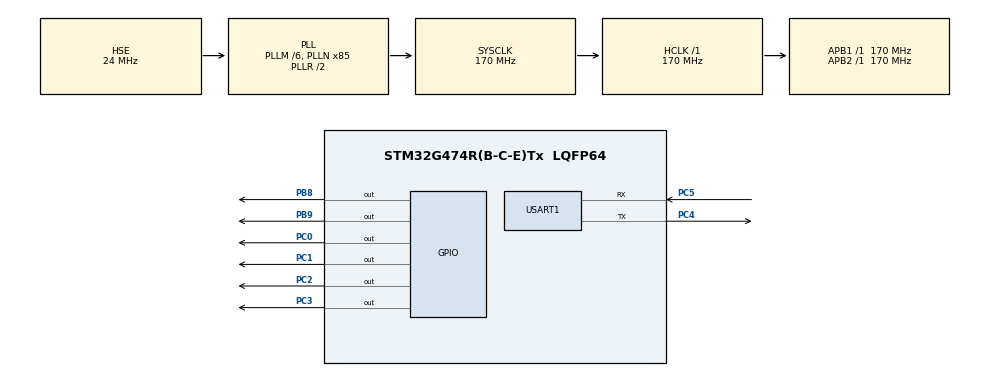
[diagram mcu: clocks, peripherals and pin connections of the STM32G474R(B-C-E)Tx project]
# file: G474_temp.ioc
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Mcu.Family=STM32G4
Mcu.Name=STM32G474R(B-C-E)Tx
Mcu.Package=LQFP64
NVIC.PriorityGroup=NVIC_PRIORITYGROUP_4
NVIC.USART1_IRQn=true\:0\:0\:false\:false\:true\:true\:true\:true
PA13.Mode=Serial_Wire
PA13.Signal=SYS_JTMS-SWDIO
PA14.Mode=Serial_Wire
PA14.Signal=SYS_JTCK-SWCLK
PB8-BOOT0.GPIO_FM8=__NULL
PB8-BOOT0.GPIO_ModeDefaultOutputPP=GPIO_MODE_OUTPUT_OD
PB8-BOOT0.GPIO_PuPd=GPIO_PULLUP
PB8-BOOT0.GPIO_Speed=GPIO_SPEED_FREQ_VERY_HIGH
PB8-BOOT0.Signal=GPIO_Output
PB9.GPIO_ModeDefaultOutputPP=GPIO_MODE_OUTPUT_OD
PB9.GPIO_PuPd=GPIO_PULLUP
PB9.GPIO_Speed=GPIO_SPEED_FREQ_VERY_HIGH
PB9.Signal=GPIO_Output
PC0.GPIO_Speed=GPIO_SPEED_FREQ_HIGH
PC0.Signal=GPIO_Output
PC1.GPIO_Speed=GPIO_SPEED_FREQ_HIGH
PC1.Signal=GPIO_Output
PC14-OSC32_IN.Mode=LSE-External-Oscillator
PC14-OSC32_IN.Signal=RCC_OSC32_IN
PC15-OSC32_OUT.Mode=LSE-External-Oscillator
PC15-OSC32_OUT.Signal=RCC_OSC32_OUT
PC2.GPIO_Speed=GPIO_SPEED_FREQ_HIGH
PC2.Signal=GPIO_Output
PC3.GPIO_Speed=GPIO_SPEED_FREQ_HIGH
PC3.Signal=GPIO_Output
PC4.Mode=Asynchronous
PC4.Signal=USART1_TX
PC5.Mode=Asynchronous
PC5.Signal=USART1_RX
PF0-OSC_IN.Mode=HSE-External-Oscillator
PF0-OSC_IN.Signal=RCC_OSC_IN
PF1-OSC_OUT.Mode=HSE-External-Oscillator
PF1-OSC_OUT.Signal=RCC_OSC_OUT
ProjectManager.HeapSize=0x200
ProjectManager.StackSize=0x400
ProjectManager.TargetToolchain=MDK-ARM V5.32
RCC.ADC12Freq_Value=170000000
RCC.ADC345Freq_Value=170000000
RCC.AHBFreq_Value=170000000
RCC.APB1Freq_Value=170000000
RCC.APB1TimFreq_Value=170000000
RCC.APB2Freq_Value=170000000
RCC.APB2TimFreq_Value=170000000
RCC.CortexFreq_Value=170000000
RCC.EXTERNAL_CLOCK_VALUE=12288000
RCC.HCLKFreq_Value=170000000
RCC.HSE_VALUE=24000000
RCC.HSI48_VALUE=48000000
RCC.HSI_VALUE=16000000
RCC.PLLM=RCC_PLLM_DIV6
RCC.PLLN=85
RCC.PLLSourceVirtual=RCC_PLLSOURCE_HSE
RCC.RTCClockSelection=RCC_RTCCLKSOURCE_LSE
RCC.SYSCLKFreq_VALUE=170000000
RCC.SYSCLKSource=RCC_SYSCLKSOURCE_PLLCLK
RCC.USBFreq_Value=170000000
RCC.VCOOutputFreq_Value=340000000
USART1.VirtualMode-Asynchronous=VM_ASYNC
VP_SYS_VS_DBSignals.Mode=DisableDeadBatterySignals
board=NUCLEO-G474RE

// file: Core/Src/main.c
/* USER CODE BEGIN Header */
/**
  ******************************************************************************
  * @file           : main.c
  * @brief          : Main program body
  ******************************************************************************
  * @attention
  *
  * Copyright (c) 2023 STMicroelectronics.
  * All rights reserved.
  *
  * This software is licensed under terms that can be found in the LICENSE file
  * in the root directory of this software component.
  * If no LICENSE file comes with this software, it is provided AS-IS.
  *
  ******************************************************************************
  */
/* USER CODE END Header */
#include "main.h"
#include "usart.h"
#include "gpio.h"

/* USER CODE BEGIN Includes */
#include "delay.h"
#include "myusart1.h"
#include "OLED_I2C.h"
#include "AD9834.h"
/* USER CODE END Includes */

void SystemClock_Config(void);

int main(void)
{

  /* MCU Configuration--------------------------------------------------------*/

  /* Reset of all peripherals, Initializes the Flash interface and the Systick. */
  HAL_Init();

  /* Configure the system clock */
  SystemClock_Config();

  /* Initialize all configured peripherals */
  MX_GPIO_Init();
  MX_USART1_UART_Init();
  /* USER CODE BEGIN 2 */
  delay_init(170);
  MyUSART1_Init(&huart1);
  OLED_Init();
  OLED_CLS();
  OLED_ShowStr(40,3,(unsigned char *)"START",2);
  uint8_t Rx_data[100];

  AD9834_Init();
  AD9834_Select_Wave(Sine_Wave);
  AD9834_Set_Freq(FREQ_0,9800000);
  /* USER CODE END 2 */

  /* Infinite loop */
  /* USER CODE BEGIN WHILE */
  while (1)
  {
    if(MyUSART1_ReadLine(Rx_data))
    {
      MyUSART1_WriteLine((uint8_t *)"你发送的是");
      MyUSART1_WriteLine(Rx_data);
      if(Rx_data[0]=='0'&& Rx_data[1]=='1')
        OLED_ShowStr(40,3,(unsigned char *)"RIGHT",2);
      else
        OLED_ShowStr(40,3,(unsigned char *)"FALSE",2);
    }

    delay_ms(5);

    /* USER CODE END WHILE */

  }
}

void SystemClock_Config(void)
{
  RCC_OscInitTypeDef RCC_OscInitStruct = {0};
  RCC_ClkInitTypeDef RCC_ClkInitStruct = {0};

  /** Configure the main internal regulator output voltage
  */
  HAL_PWREx_ControlVoltageScaling(PWR_REGULATOR_VOLTAGE_SCALE1_BOOST);

  /** Initializes the RCC Oscillators according to the specified parameters
  * in the RCC_OscInitTypeDef structure.
  */
  RCC_OscInitStruct.OscillatorType = RCC_OSCILLATORTYPE_HSE;
  RCC_OscInitStruct.HSEState = RCC_HSE_ON;
  RCC_OscInitStruct.PLL.PLLState = RCC_PLL_ON;
  RCC_OscInitStruct.PLL.PLLSource = RCC_PLLSOURCE_HSE;
  RCC_OscInitStruct.PLL.PLLM = RCC_PLLM_DIV6;
  RCC_OscInitStruct.PLL.PLLN = 85;
  RCC_OscInitStruct.PLL.PLLP = RCC_PLLP_DIV2;
  RCC_OscInitStruct.PLL.PLLQ = RCC_PLLQ_DIV2;
  RCC_OscInitStruct.PLL.PLLR = RCC_PLLR_DIV2;
  if (HAL_RCC_OscConfig(&RCC_OscInitStruct) != HAL_OK)
  {
    Error_Handler();
  }

  /** Initializes the CPU, AHB and APB buses clocks
  */
  RCC_ClkInitStruct.ClockType = RCC_CLOCKTYPE_HCLK|RCC_CLOCKTYPE_SYSCLK
                              |RCC_CLOCKTYPE_PCLK1|RCC_CLOCKTYPE_PCLK2;
  RCC_ClkInitStruct.SYSCLKSource = RCC_SYSCLKSOURCE_PLLCLK;
  RCC_ClkInitStruct.AHBCLKDivider = RCC_SYSCLK_DIV1;
  RCC_ClkInitStruct.APB1CLKDivider = RCC_HCLK_DIV1;
  RCC_ClkInitStruct.APB2CLKDivider = RCC_HCLK_DIV1;

  if (HAL_RCC_ClockConfig(&RCC_ClkInitStruct, FLASH_LATENCY_4) != HAL_OK)
  {
    Error_Handler();
  }
}

void Error_Handler(void)
{
  __disable_irq();
  while (1)
  {
  }
}
